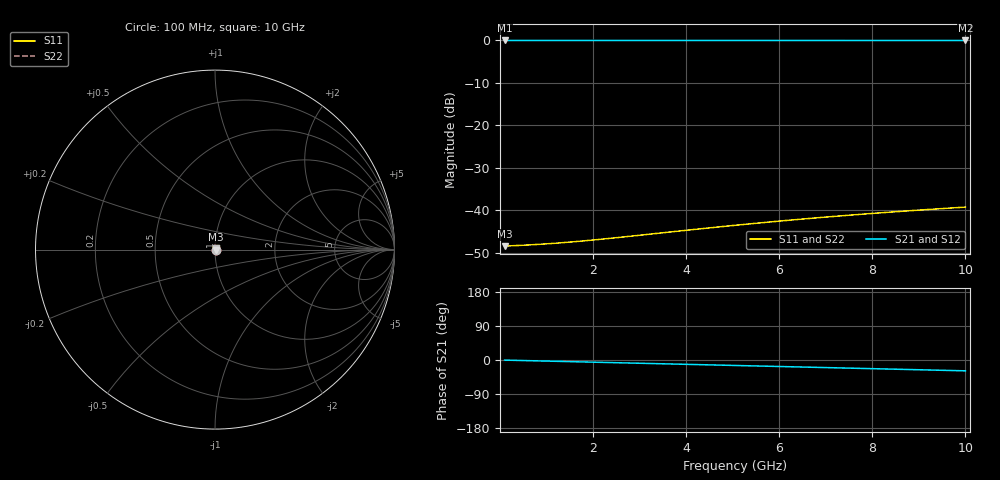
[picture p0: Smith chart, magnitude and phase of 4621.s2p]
# Hz S RI R 50.00
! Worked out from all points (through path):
!   100 points, 100 MHz to 10 GHz, reference 50 ohm
!   highest |S21| = -0.03 dB at 100 MHz (marker M1); lowest = 0.0 dB at 10 GHz (marker M2)
!   group delay of S21, straight-line fit = 7.94 ps
!   lowest |S11| = -48.4 dB at 100 MHz (marker M3), VSWR 1.01, Z = 50.4 + j0.009 ohm
!   |S11| at or under -10 dB: start of sweep to end of sweep
!   |S22| runs from -48.4 to -39.2 dB; largest |S21 - S12| = 0
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1e8  0.0038 8.94e-05  0.9962 -0.00496  0.9962 -0.00496  0.0038 8.94e-05
7e8  0.0039 0.000622  0.9955 -0.0347  0.9955 -0.0347  0.0039 0.000622
1e9  0.00395 0.000886  0.9948 -0.0496  0.9948 -0.0496  0.00395 0.000886
1.2e9  0.00398 0.00106  0.9943 -0.0595  0.9943 -0.0595  0.00398 0.00106
1.4e9  0.00401 0.00124  0.9936 -0.0694  0.9936 -0.0694  0.00401 0.00124
1.8e9  0.00409 0.00158  0.992 -0.0892  0.992 -0.0892  0.00409 0.00158
2.1e9  0.00416 0.00184  0.9905 -0.1041  0.9905 -0.1041  0.00416 0.00184
2.4e9  0.00423 0.0021  0.9888 -0.1189  0.9888 -0.1189  0.00423 0.0021
2.8e9  0.00434 0.00243  0.9862 -0.1385  0.9862 -0.1385  0.00434 0.00243
3.4e9  0.00452 0.00293  0.9816 -0.168  0.9816 -0.168  0.00452 0.00293
4.3e9  0.00486 0.00364  0.973 -0.2119  0.973 -0.2119  0.00486 0.00364
5.1e9  0.00522 0.00424  0.9637 -0.2505  0.9637 -0.2505  0.00522 0.00424
5.5e9  0.00541 0.00453  0.9585 -0.2697  0.9585 -0.2697  0.00541 0.00453
5.9e9  0.00562 0.00481  0.9529 -0.2888  0.9529 -0.2888  0.00562 0.00481
6.3e9  0.00584 0.00508  0.9469 -0.3077  0.9469 -0.3077  0.00584 0.00508
6.7e9  0.00607 0.00535  0.9405 -0.3266  0.9405 -0.3266  0.00607 0.00535
7.1e9  0.00631 0.0056  0.9338 -0.3453  0.9338 -0.3453  0.00631 0.0056
7.5e9  0.00657 0.00583  0.9267 -0.3638  0.9267 -0.3638  0.00657 0.00583
7.9e9  0.00683 0.00606  0.9192 -0.3823  0.9192 -0.3823  0.00683 0.00606
8.4e9  0.00717 0.00633  0.9093 -0.4051  0.9093 -0.4051  0.00717 0.00633
9.2e9  0.00775 0.00672  0.8923 -0.4411  0.8923 -0.4411  0.00775 0.00672
1e10  0.00835 0.00706  0.8739 -0.4764  0.8739 -0.4764  0.00835 0.00706
